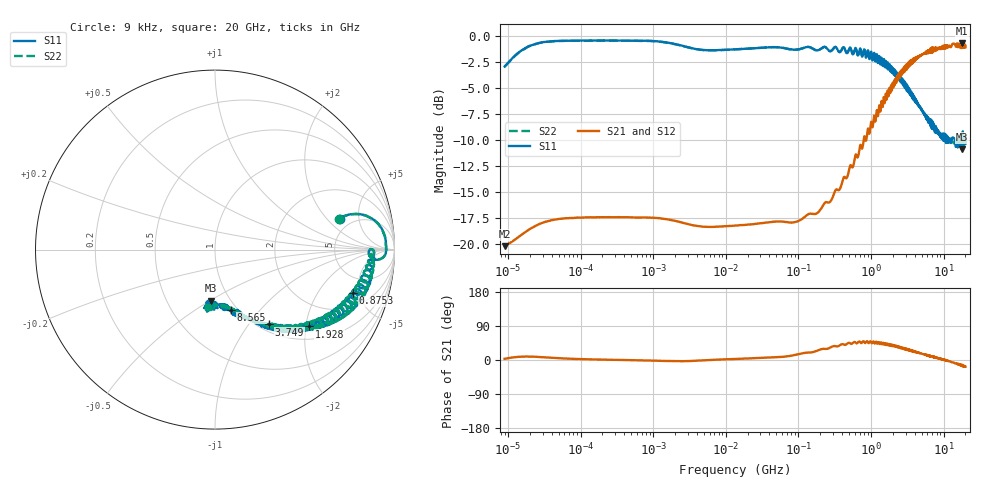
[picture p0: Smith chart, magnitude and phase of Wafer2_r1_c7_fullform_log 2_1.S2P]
!  2-Port S-parameters saved by WinCal
! VAR MeasName=S-Parameters (CALIBRATED_DATA) read from VNA (P5004A)
! VAR MeasDate=26/04/2024 19:10:06
! VAR NAME=Wafer2_r1_c7_fullform_log 2
! VAR FILENAME=Wafer2_r1_c7_fullform_log 2_1.S2P
! VAR DATE=26/04/2024 19:10:06
! VAR PHYS_PORTS=1,2
! VAR ObjTypeName=DATASET
! VAR IndexType=Frequency
# Hz S MA R 50
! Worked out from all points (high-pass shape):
!   2000 points, 9 kHz to 20 GHz, reference 50 ohm
!   highest |S21| = -0.66 dB at 18.05 GHz (marker M1); lowest = -20.2 dB at 9 kHz (marker M2)
!   |S21| within 3 dB of the highest: 2.554 GHz to 2.615 GHz (61.21 MHz wide, 2.37 % of centre); 2.642 GHz to end of sweep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
!   lowest |S11| = -10.9 dB at 17.79 GHz (marker M3), VSWR 1.80, Z = 40.6 - j25.2 ohm
!   |S11| at or under -10 dB: 12.16 GHz to 12.92 GHz (757.1 MHz wide, 6.04 % of centre); 14.29 GHz to 15.23 GHz (932.2 MHz wide, 6.32 % of centre); 15.4 GHz to 15.98 GHz (581.1 MHz wide, 3.7 % of centre)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
!   |S22| runs from -10.6 to -0.4 dB; largest |S21 - S12| = 0.037
!   S11 on the Smith chart (normalised r, x): 9 kHz: 3.96, +2.80; 875.3 MHz: 3.10, -4.29; 1.928 GHz: 1.32, -2.09; 3.749 GHz: 1.11, -1.26; 8.565 GHz: 0.93, -0.71; 20 GHz: 0.78, -0.52
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9000  0.7152 13.9  0.09787 3.2  0.09923 2.4  0.7142 13.8
14160.92  0.8379 13.6  0.1087 8.4  0.1097 7.8  0.8356 13.5
26554.6  0.9281 8.2  0.1247 8.0  0.1256 7.8  0.9261 8.2
103439.5  0.9532 1.9  0.1344 2.3  0.1355 2.3  0.9516 1.9
1180198  0.9448 -2.2  0.1335 -2.0  0.1346 -1.9  0.9429 -2.3
4530556  0.8616 -2.3  0.1216 -1.3  0.123 -1.4  0.8601 -2.2
1.346554e7  0.8651 0.1  0.1229 2.7  0.1237 2.3  0.8644 0.1
1.121937e8  0.8737 -1.9  0.1321 17.5  0.133 17.0  0.8726 -1.8
1.536358e8  0.876 -4.8  0.1402 20.3  0.1389 20.5  0.8775 -4.7
2.028345e8  0.8691 -3.8  0.147 28.0  0.1483 27.7  0.8675 -3.7
3.693943e8  0.8387 -8.8  0.1834 38.6  0.1834 39.0  0.8396 -8.7
4.152312e8  0.8855 -9.3  0.2069 41.6  0.2069 41.2  0.8842 -9.1
8.752619e8  0.8049 -17.6  0.3268 49.2  0.3276 49.3  0.8049 -17.4
1.752917e9  0.6925 -34.0  0.5194 41.6  0.5219 41.6  0.6918 -33.6
1.927685e9  0.6776 -39.2  0.5546 37.2  0.5554 37.5  0.6811 -38.7
3.749379e9  0.5149 -54.1  0.7531 24.9  0.757 25.0  0.5171 -53.4
5.646226e9  0.4188 -65.3  0.833 14.3  0.838 14.0  0.4164 -64.7
8.565095e9  0.3477 -75.1  0.8801 4.5  0.8862 4.3  0.3476 -74.7
1.35755e10  0.3255 -87.4  0.9216 -6.3  0.9181 -7.1  0.3085 -86.3
1.779223e10  0.2857 -95.0  0.8771 -15.0  0.8818 -12.7  0.3267 -92.2
1.805428e10  0.3412 -96.8  0.9265 -14.9  0.9001 -16.5  0.2935 -92.6
2e10  0.3038 -96.7  0.8843 -17.6  0.8975 -16.9  0.3198 -96.6
